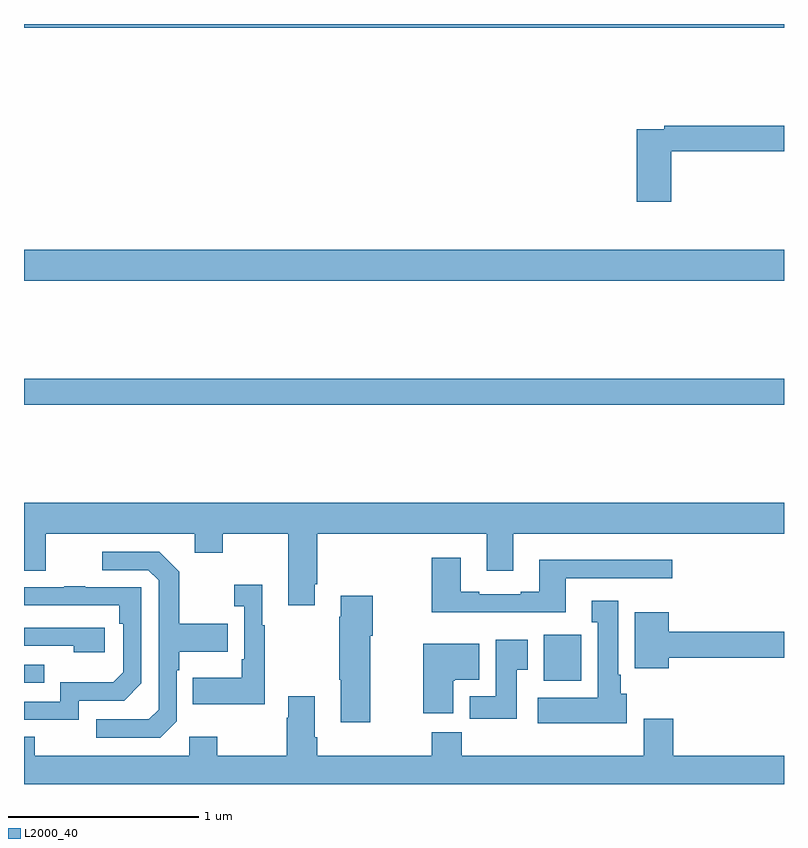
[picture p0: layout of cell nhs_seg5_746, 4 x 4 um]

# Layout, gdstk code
import gdstk
lib = gdstk.Library(unit=1e-6, precision=1e-09)
def R(c, l, rs):  # rectangles x0, y0, x1, y1
    for r in rs: c.add(gdstk.rectangle(r[:2], r[2:], *l))
def P(c, l, *ps):  # polygons
    for p in ps: c.add(gdstk.Polygon(p, *l))
L2000_40 = (2000, 40)

nhs_seg5_746 = lib.new_cell('nhs_seg5_746')
R(nhs_seg5_746, L2000_40, [(159,833.331,159.107,833.427), (161.735,833.342,161.932,833.584), (159,834.796,163,834.932), (159,835.448,163,835.612), (159,836.78,163,836.799)])
P(nhs_seg5_746, L2000_40, [(162.407,836.128),(163,836.128),(163,836.264),(162.37,836.264),(162.37,836.244),(162.224,836.244),(162.224,835.863),(162.407,835.863)],
  [(160.531,833.851),(160.544,833.851),(160.544,834.116),(161.435,834.116),(161.435,833.922),(161.575,833.922),(161.575,834.116),(163,834.116),(163,834.28),(159,834.28),(159,833.922),(159.115,833.922),(159.115,834.116),(159.899,834.116),(159.899,834.017),(160.047,834.017),(160.047,834.116),(160.391,834.116),(160.391,833.739),(160.531,833.739)],
  [(159.804,833.13),(159.804,833.399),(159.817,833.399),(159.817,833.495),(160.073,833.495),(160.073,833.643),(159.817,833.643),(159.817,833.915),(159.711,834.021),(159.411,834.021),(159.411,833.925),(159.654,833.925),(159.708,833.871),(159.708,833.19),(159.657,833.139),(159.381,833.139),(159.381,833.043),(159.717,833.043)],
  [(161.851,833.883),(162.412,833.883),(162.412,833.98),(161.711,833.98),(161.711,833.812),(161.615,833.812),(161.615,833.799),(161.395,833.799),(161.395,833.812),(161.299,833.812),(161.299,833.989),(161.147,833.989),(161.147,833.702),(161.851,833.702)],
  [(160.267,833.635),(160.255,833.635),(160.255,833.848),(160.107,833.848),(160.107,833.735),(160.158,833.735),(160.158,833.455),(160.146,833.455),(160.146,833.359),(159.889,833.359),(159.889,833.219),(160.267,833.219)],
  [(159.288,833.238),(159.528,833.238),(159.618,833.328),(159.618,833.835),(159.323,833.835),(159.323,833.84),(159.211,833.84),(159.211,833.835),(159,833.835),(159,833.739),(159.502,833.739),(159.502,833.642),(159.522,833.642),(159.522,833.388),(159.469,833.335),(159.192,833.335),(159.192,833.232),(159,833.232),(159,833.136),(159.288,833.136)],
  [(160.822,833.578),(160.835,833.578),(160.835,833.791),(160.667,833.791),(160.667,833.678),(160.66,833.678),(160.66,833.347),(160.667,833.347),(160.667,833.124),(160.822,833.124)],
  [(162.172,833.274),(162.142,833.274),(162.142,833.374),(162.127,833.374),(162.127,833.764),(161.987,833.764),(161.987,833.651),(162.02,833.651),(162.02,833.254),(161.703,833.254),(161.703,833.12),(162.172,833.12)],
  [(162.394,833.464),(163,833.464),(163,833.6),(162.394,833.6),(162.394,833.704),(162.215,833.704),(162.215,833.408),(162.394,833.408)],
  [(159.424,833.622),(159,833.622),(159,833.526),(159.263,833.526),(159.263,833.492),(159.424,833.492)],
  [(161.593,833.401),(161.65,833.401),(161.65,833.557),(161.483,833.557),(161.483,833.26),(161.345,833.26),(161.345,833.142),(161.593,833.142)],
  [(161.26,833.342),(161.266,833.342),(161.266,833.348),(161.395,833.348),(161.395,833.536),(161.102,833.536),(161.102,833.172),(161.26,833.172)],
  [(163,832.948),(162.416,832.948),(162.416,833.143),(162.263,833.143),(162.263,832.948),(161.303,832.948),(161.303,833.072),(161.147,833.072),(161.147,832.948),(160.544,832.948),(160.544,833.044),(160.531,833.044),(160.531,833.26),(160.391,833.26),(160.391,833.147),(160.384,833.147),(160.384,832.948),(160.017,832.948),(160.017,833.047),(159.87,833.047),(159.87,832.948),(159.057,832.948),(159.057,833.047),(159,833.047),(159,832.799),(163,832.799)])

lib.write_gds('nhs_seg5_746.gds')
